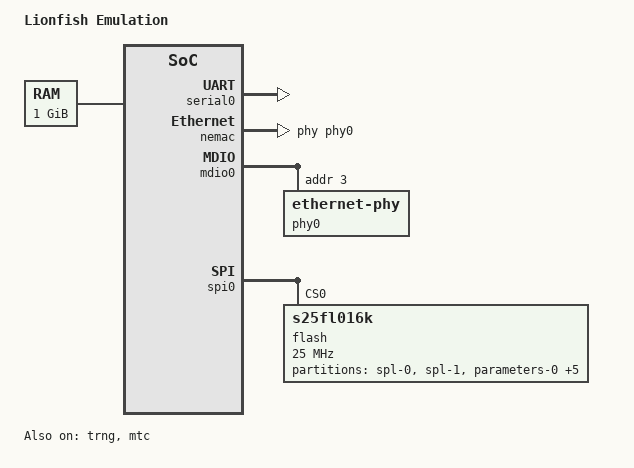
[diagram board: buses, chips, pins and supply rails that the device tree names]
/*
 * arch/arm64/boot/dts/axc6712-emu.dts
 *
 * Copyright (C) 2015 Intel Corp.
 *
 * This program is free software; you can redistribute it and/or modify
 * it under the terms of the GNU General Public License as published by
 * the Free Software Foundation; either version 2 of the License, or
 * (at your option) any later version.
 */

/dts-v1/;

#include "axc67xx.dtsi"
#include "axc6712-cpus.dtsi"

/ {
	model = "Lionfish Emulation";
	compatible = "axxia,axc6732";

	memory {
		device_type = "memory";
		reg = <0 0x00000000 0 0x40000000>;
	};

	soc {
	};
};

&serial0 {
	status = "okay";
};

&nemac {
	status = "okay";
	phy-handle = <&phy0>;
};

&trng {
	status = "okay";
};

&mtc {
	status = "okay";
};

&mdio0 {
	status = "okay";
	axxia,mdio-clk-offset = <0x5>;
	axxia,mdio-clk-period = <0xc>;

	phy0: ethernet-phy@3 {
		reg = <0x3>;
		max-speed = <10>;
	};
};

&spi0 {
	status = "okay";

	flash@0 {
		#address-cells = <1>;
		#size-cells = <1>;
		compatible = "s25fl016k";
		reg = <0>;
		spi-max-frequency = <25000000>;
		pl022,com-mode = <1>;

		partition@0 {
			label = "spl-0";
			reg = <0x0 0x40000>;
		};
		partition@40000 {
			label = "spl-1";
			reg = <0x40000 0x40000>;
		};
		partition@80000 {
			label = "parameters-0";
			reg = <0x80000 0x10000>;
		};
		partition@90000 {
			label = "parameters-1";
			reg = <0x90000 0x10000>;
		};
		partition@a0000 {
			label = "env-0";
			reg = <0xa0000 0x10000>;
		};
		partition@b0000 {
			label = "env-1";
			reg = <0xb0000 0x10000>;
		};
		partition@100000 {
			label = "u-boot-0";
			reg = <0x100000 0x200000>;
		};
		partition@300000 {
			label = "u-boot-1";
			reg = <0x300000 0x200000>;
		};
	};
};
